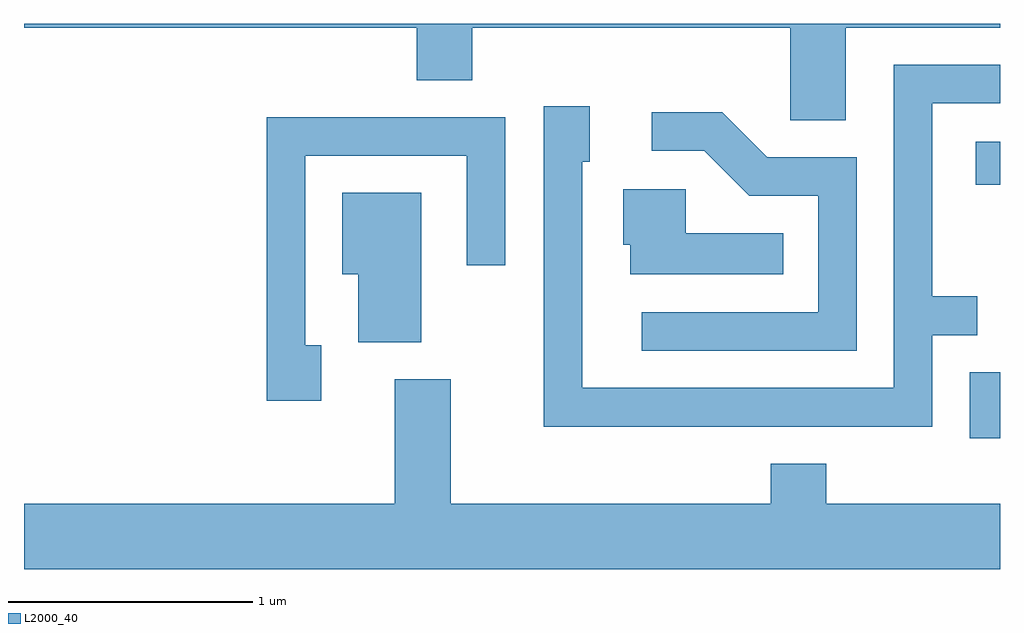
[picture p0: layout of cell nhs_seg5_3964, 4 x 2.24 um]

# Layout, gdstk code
import gdstk
lib = gdstk.Library(unit=1e-6, precision=1e-09)
def R(c, l, rs):  # rectangles x0, y0, x1, y1
    for r in rs: c.add(gdstk.rectangle(r[:2], r[2:], *l))
def P(c, l, *ps):  # polygons
    for p in ps: c.add(gdstk.Polygon(p, *l))
L2000_40 = (2000, 40)

nhs_seg5_3964 = lib.new_cell('nhs_seg5_3964')
R(nhs_seg5_3964, L2000_40, [(305.486,1528.373,305.611,1528.644), (305.511,1529.411,305.611,1529.589)])
P(nhs_seg5_3964, L2000_40, [(304.979,1530.056),(305.611,1530.056),(305.611,1530.072),(301.611,1530.072),(301.611,1530.056),(303.221,1530.056),(303.221,1529.841),(303.449,1529.841),(303.449,1530.056),(304.751,1530.056),(304.751,1529.676),(304.979,1529.676)],
  [(305.334,1528.796),(305.518,1528.796),(305.518,1528.954),(305.334,1528.954),(305.334,1529.746),(305.611,1529.746),(305.611,1529.904),(305.176,1529.904),(305.176,1528.579),(303.899,1528.579),(303.899,1529.506),(303.929,1529.506),(303.929,1529.734),(303.741,1529.734),(303.741,1528.421),(305.334,1528.421)],
  [(305.024,1529.524),(304.657,1529.524),(304.472,1529.709),(304.183,1529.709),(304.183,1529.551),(304.399,1529.551),(304.584,1529.366),(304.866,1529.366),(304.866,1528.889),(304.143,1528.889),(304.143,1528.731),(305.024,1528.731)],
  [(302.829,1528.754),(302.764,1528.754),(302.764,1529.531),(303.426,1529.531),(303.426,1529.083),(303.584,1529.083),(303.584,1529.689),(302.606,1529.689),(302.606,1528.526),(302.829,1528.526)],
  [(304.723,1529.214),(304.324,1529.214),(304.324,1529.394),(304.066,1529.394),(304.066,1529.166),(304.096,1529.166),(304.096,1529.046),(304.723,1529.046)],
  [(303.239,1529.379),(302.916,1529.379),(302.916,1529.046),(302.981,1529.046),(302.981,1528.766),(303.239,1528.766)],
  [(305.611,1528.104),(304.899,1528.104),(304.899,1528.269),(304.671,1528.269),(304.671,1528.104),(303.359,1528.104),(303.359,1528.614),(303.131,1528.614),(303.131,1528.104),(301.611,1528.104),(301.611,1527.836),(305.611,1527.836)])

lib.write_gds('nhs_seg5_3964.gds')
